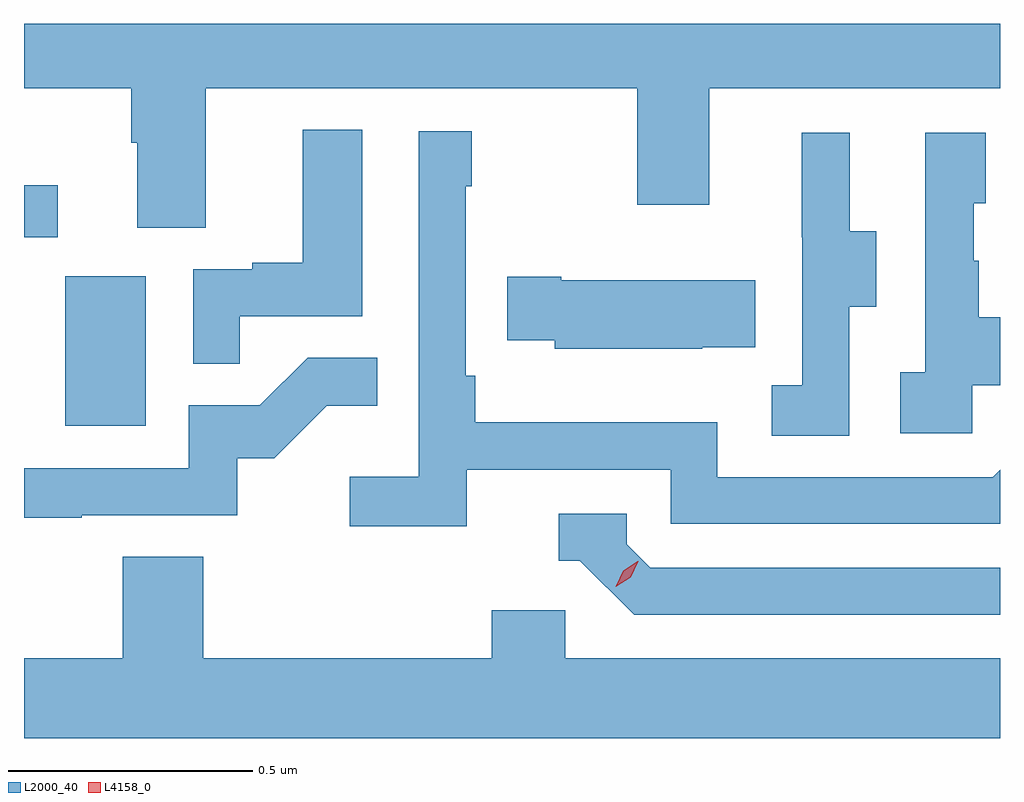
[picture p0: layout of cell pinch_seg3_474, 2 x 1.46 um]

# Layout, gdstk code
import gdstk
lib = gdstk.Library(unit=1e-6, precision=1e-09)
def R(c, l, rs):  # rectangles x0, y0, x1, y1
    for r in rs: c.add(gdstk.rectangle(r[:2], r[2:], *l))
def P(c, l, *ps):  # polygons
    for p in ps: c.add(gdstk.Polygon(p, *l))
L2000_40 = (2000, 40)
L4158_0 = (4158, 0)

pinch_seg3_474 = lib.new_cell('pinch_seg3_474')
R(pinch_seg3_474, L2000_40, [(902.138,669.588,902.302,669.895), (902.053,669.975,902.122,670.081)])
P(pinch_seg3_474, L2000_40, [(902.425,670.28),(903.31,670.28),(903.31,670.041),(903.457,670.041),(903.457,670.28),(904.053,670.28),(904.053,670.412),(902.053,670.412),(902.053,670.28),(902.273,670.28),(902.273,670.168),(902.285,670.168),(902.285,669.994),(902.425,669.994)],
  [(902.495,669.813),(902.746,669.813),(902.746,670.195),(902.624,670.195),(902.624,669.922),(902.521,669.922),(902.521,669.909),(902.4,669.909),(902.4,669.715),(902.495,669.715)],
  [(902.96,669.498),(903.378,669.498),(903.378,669.387),(904.053,669.387),(904.053,669.498),(904.038,669.483),(903.474,669.483),(903.474,669.595),(902.978,669.595),(902.978,669.691),(902.958,669.691),(902.958,670.079),(902.971,670.079),(902.971,670.192),(902.862,670.192),(902.862,669.484),(902.721,669.484),(902.721,669.382),(902.96,669.382)],
  [(903.744,669.832),(903.799,669.832),(903.799,669.987),(903.745,669.987),(903.745,670.189),(903.647,670.189),(903.647,669.975),(903.648,669.975),(903.648,669.671),(903.585,669.671),(903.585,669.568),(903.744,669.568)],
  [(903.996,669.671),(904.053,669.671),(904.053,669.811),(904.009,669.811),(904.009,669.926),(903.999,669.926),(903.999,670.044),(904.024,670.044),(904.024,670.189),(903.9,670.189),(903.9,669.698),(903.849,669.698),(903.849,669.573),(903.996,669.573)],
  [(903.443,669.749),(903.551,669.749),(903.551,669.886),(903.154,669.886),(903.154,669.894),(903.043,669.894),(903.043,669.764),(903.141,669.764),(903.141,669.746),(903.443,669.746)],
  [(902.171,669.405),(902.49,669.405),(902.49,669.522),(902.566,669.522),(902.673,669.629),(902.777,669.629),(902.777,669.728),(902.634,669.728),(902.536,669.63),(902.391,669.63),(902.391,669.501),(902.053,669.501),(902.053,669.4),(902.171,669.4)],
  [(904.053,669.297),(903.336,669.297),(903.288,669.345),(903.288,669.408),(903.149,669.408),(903.149,669.312),(903.192,669.312),(903.303,669.201),(904.053,669.201)],
  [(904.053,669.112),(903.162,669.112),(903.162,669.21),(903.011,669.21),(903.011,669.112),(902.42,669.112),(902.42,669.32),(902.255,669.32),(902.255,669.112),(902.053,669.112),(902.053,668.948),(904.053,668.948)])
P(pinch_seg3_474, L4158_0, [(903.266,669.258),(903.266,669.258),(903.281,669.291),(903.311,669.311),(903.312,669.311),(903.312,669.311),(903.296,669.278),(903.266,669.258)])

lib.write_gds('pinch_seg3_474.gds')
